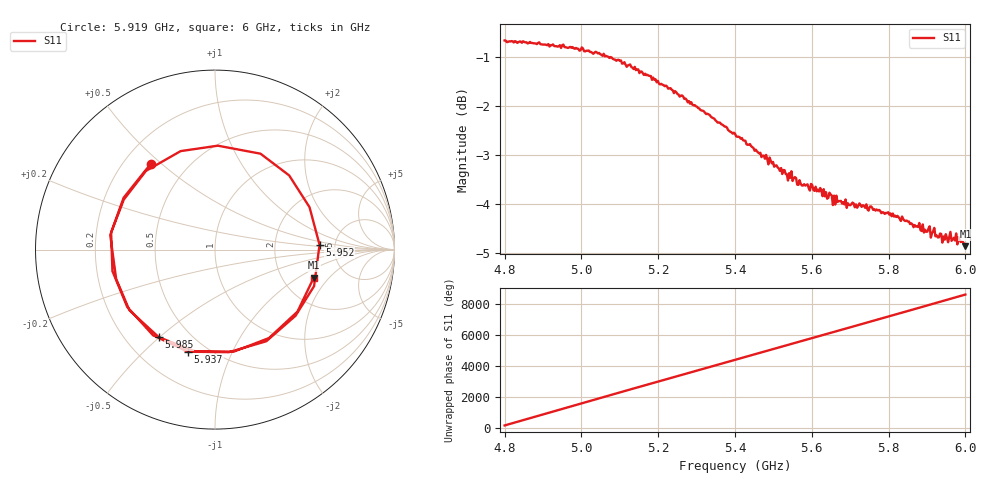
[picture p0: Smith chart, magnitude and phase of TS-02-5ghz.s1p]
! NanoVNA-App
! Date: 2026-05-22 18:52:32
! Start: 4.8GHz Stop: 6GHz Points: 401
! S-Parameter data: F S11
# Hz S RI R 50
!  Frequency  S11_Real  S11_Imag
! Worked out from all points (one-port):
!   401 points, 4.8 GHz to 6 GHz, reference 50 ohm
!   lowest |S11| = -4.9 dB at 6 GHz (marker M1), VSWR 3.67, Z = 148 - j69 ohm
!   |S11| at or under -10 dB: nowhere
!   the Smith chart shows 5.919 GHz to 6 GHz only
!   S11 on the Smith chart (normalised r, x): 5.919 GHz: 0.31, +0.46; 5.937 GHz: 0.40, -0.69; 5.952 GHz: 3.77, +0.31; 5.985 GHz: 0.34, -0.50; 6 GHz: 2.97, -1.38
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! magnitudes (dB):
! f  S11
! 4.8 GHz  -0.7
! 4.95 GHz  -0.8
! 5.043 GHz  -0.9
! 5.1 GHz  -1.1
! 5.175 GHz  -1.4
! 5.25 GHz  -1.8
! 5.4 GHz  -2.6
! 5.487 GHz  -3.2
! 5.538 GHz  -3.5
! 5.55 GHz  -3.5
! 5.568 GHz  -3.5
! 5.616 GHz  -3.7
! 5.634 GHz  -3.8
! 5.652 GHz  -3.8
! 5.661 GHz  -4.0
! 5.67 GHz  -3.9
! 5.697 GHz  -4.0
! 5.7 GHz  -4.0
! 5.757 GHz  -4.1
! 5.85 GHz  -4.4
! 5.889 GHz  -4.4
! 5.919 GHz  -4.5
! 5.937 GHz  -4.6
! 5.952 GHz  -4.7
! 5.955 GHz  -4.8
! 5.964 GHz  -4.7
! 5.985 GHz  -4.7
! 6 GHz  -4.9
